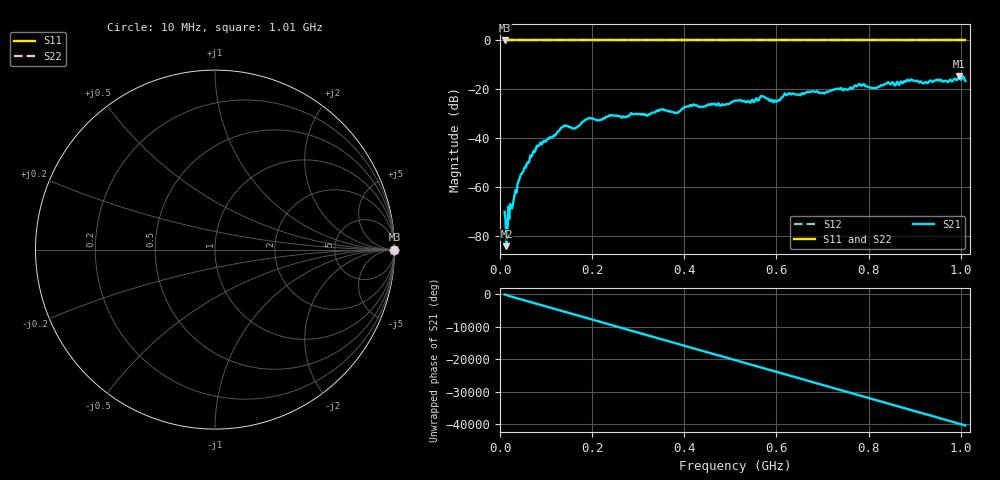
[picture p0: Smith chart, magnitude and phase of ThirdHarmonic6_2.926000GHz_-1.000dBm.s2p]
! 8/17/2025 8:09:33 AM
! C:\ANRITSUVNA\TEMP\TEMP.S2P
! CHANNEL.1
! TR.MEASUREMENT
! RAW.DATA
! RF.CORRECTION.OFF
! AVERAGING.OFF
! IF.BANDWIDTH: 5KHZ
! SWEEPTYPE:  FREQ.SWEEP(Linear)
! Reference Plane Port Info
! PORT:  PORT1  PORT2
! DISTANCE:  0  m  0  m
! TIME:  0  s  0  s
! PHASE.OFFSET:  0  deg.  0  deg.
! LOSS:  0  dB  0  dB
! REF.LOSS:  0  dB  0  dB
! REF.FREQ:  0  Hz  0  Hz
! Power Info
! POWER:  -20  dBm  -20  dBm
! EFF.POWER:  -20  dBm  -20  dBm
! SOURCE.ATTEN:  0  dB  0  dB
! TEST.ATTEN:  0  dB  0  dB
# GHZ S RI R 50.0
! FREQ.GHZ  S11RE  S11IM  S21RE  S21IM  S12RE  S12IM  S22RE  S22IM
!; PortSelection: Port_12
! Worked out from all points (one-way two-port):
!   501 points, 10 MHz to 1.01 GHz, reference 50 ohm
!   highest |S21| = -14.56 dB at 996 MHz (marker M1); lowest = -84.4 dB at 14 MHz (marker M2)
!   lowest |S11| = 0.0 dB at 10 MHz (marker M3)
!   |S11| at or under -10 dB: nowhere
!   |S22| runs from 0.0 to 0.0 dB; largest |S21 - S12| = 1.2
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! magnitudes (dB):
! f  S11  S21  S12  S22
! 10 MHz  0.0  -70.3  0.0  0.0
! 14 MHz  0.0  -84.4  0.0  0.0
! 16 MHz  0.0  -80.1  0.0  0.0
! 22 MHz  0.0  -67.1  0.0  0.0
! 42 MHz  0.0  -56.7  0.0  0.0
! 76 MHz  0.0  -45.7  0.0  0.0
! 136 MHz  0.0  -35.5  0.0  0.0
! 162 MHz  0.0  -36.1  0.0  0.0
! 178 MHz  0.0  -33.5  0.0  0.0
! 344 MHz  0.0  -28.9  0.0  0.0
! 382 MHz  0.0  -29.6  0.0  0.0
! 416 MHz  0.0  -26.8  0.0  0.0
! 510 MHz  0.0  -24.6  0.0  0.0
! 570 MHz  0.0  -22.9  0.0  0.0
! 596 MHz  0.0  -24.5  0.0  0.0
! 622 MHz  0.0  -22.4  0.0  0.0
! 678 MHz  0.0  -20.9  0.0  0.0
! 780 MHz  0.0  -17.8  0.0  0.0
! 814 MHz  0.0  -19.5  0.0  0.0
! 844 MHz  0.0  -17.3  0.0  0.0
! 996 MHz  0.0  -14.6  0.0  0.0
! 1.01 GHz  0.0  -16.6  0.0  0.0
